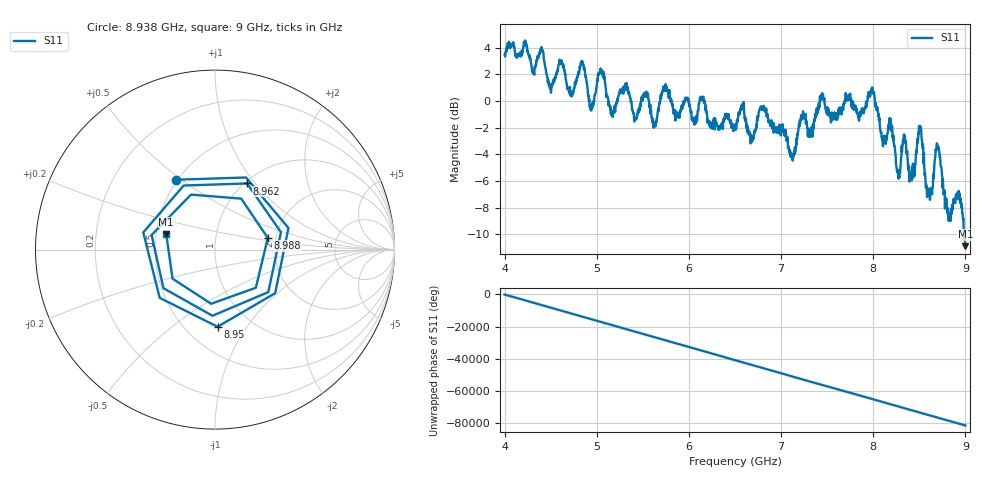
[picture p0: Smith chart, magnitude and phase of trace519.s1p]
! Created with skrf 1.8.0 (http://scikit-rf.org).
# Hz S RI R 50.0
!freq ReS11 ImS11
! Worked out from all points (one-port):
!   1601 points, 4 GHz to 9 GHz, reference 50 ohm
!   lowest |S11| = -10.9 dB at 9 GHz (marker M1), VSWR 1.80, Z = 28.3 + j5.39 ohm
!   |S11| at or under -10 dB: 8.984655 GHz to end of sweep
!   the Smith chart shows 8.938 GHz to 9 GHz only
!   S11 on the Smith chart (normalised r, x): 8.938 GHz: 0.49, +0.48; 8.95 GHz: 0.71, -0.74; 8.962 GHz: 1.03, +0.91; 8.988 GHz: 1.81, +0.26; 9 GHz: 0.57, +0.11
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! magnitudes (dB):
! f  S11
! 4 GHz  3.4
! 4.5 GHz  1.2
! 4.625 GHz  2.9
! 4.722 GHz  0.7
! 4.847 GHz  2.9
! 4.941 GHz  -0.7
! 5.038 GHz  2.2
! 5.166 GHz  -1.0
! 5.25 GHz  0.6
! 5.875 GHz  -1.0
! 6.5 GHz  -2.1
! 6.8 GHz  -0.5
! 7.125 GHz  -4.3
! 7.444 GHz  0.5
! 7.75 GHz  0.6
! 7.988 GHz  1.0
! 8.272 GHz  -5.8
! 8.331 GHz  -2.5
! 8.375 GHz  -4.4
! 8.503 GHz  -2.0
! 8.594 GHz  -7.1
! 8.7 GHz  -3.3
! 8.816 GHz  -8.9
! 8.938 GHz  -7.0
! 8.95 GHz  -7.3
! 8.962 GHz  -7.8
! 8.988 GHz  -10.4
! 9 GHz  -10.9
